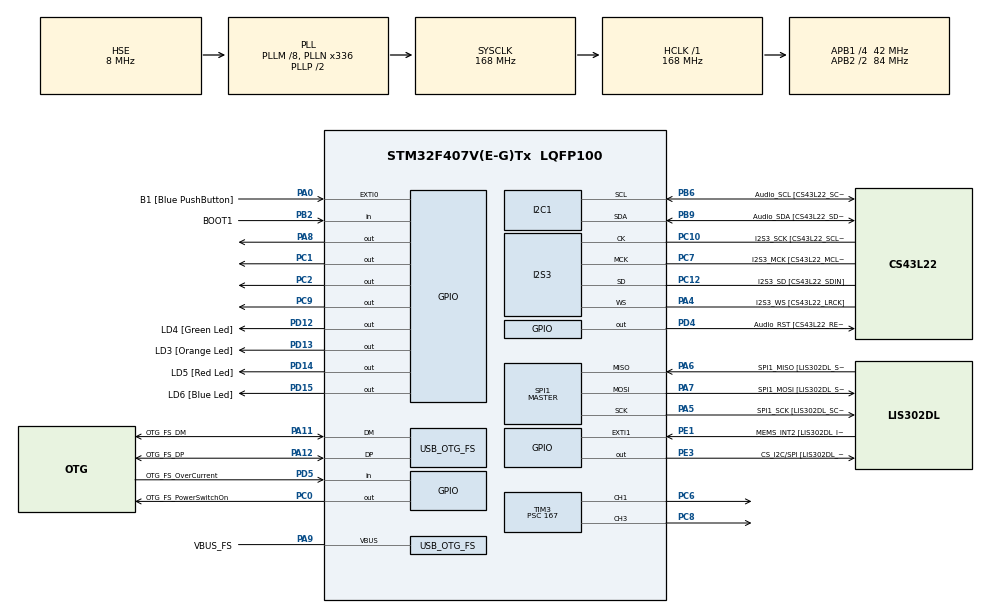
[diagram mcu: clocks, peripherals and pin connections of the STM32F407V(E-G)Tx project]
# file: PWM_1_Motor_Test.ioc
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I2S3.AudioFreq-Half_Duplex_Master=I2S_AUDIOFREQ_96K
I2S3.ErrorAudioFreq=-2.34 %
I2S3.ErrorAudioFreq-Half_Duplex_Master=0.8 %
I2S3.FullDuplexMode=I2S_FULLDUPLEXMODE_DISABLE
I2S3.Instance=SPI$Index
I2S3.RealAudioFreq=93.75 KHz
I2S3.RealAudioFreq-Half_Duplex_Master=96.774 KHz
I2S3.VirtualMode=I2S_MODE_MASTER
Mcu.Family=STM32F4
Mcu.Name=STM32F407V(E-G)Tx
Mcu.Package=LQFP100
NVIC.OTG_FS_IRQn=true\:0\:0\:false\:false\:true\:true\:true\:true
NVIC.PriorityGroup=NVIC_PRIORITYGROUP_0
PA0-WKUP.GPIO_Label=B1 [Blue PushButton]
PA0-WKUP.GPIO_ModeDefaultEXTI=GPIO_MODE_EVT_RISING
PA0-WKUP.GPIO_PuPd=GPIO_NOPULL
PA0-WKUP.Signal=GPXTI0
PA10.GPIO_Label=OTG_FS_ID
PA10.GPIO_Mode=GPIO_MODE_AF_PP
PA10.GPIO_PuPd=GPIO_NOPULL
PA10.GPIO_Speed=GPIO_SPEED_FREQ_LOW
PA10.Signal=USB_OTG_FS_ID
PA11.GPIO_Label=OTG_FS_DM
PA11.GPIO_Mode=GPIO_MODE_AF_PP
PA11.GPIO_PuPd=GPIO_NOPULL
PA11.GPIO_Speed=GPIO_SPEED_FREQ_LOW
PA11.Mode=Host_Only
PA11.Signal=USB_OTG_FS_DM
PA12.GPIO_Label=OTG_FS_DP
PA12.GPIO_Mode=GPIO_MODE_AF_PP
PA12.GPIO_PuPd=GPIO_NOPULL
PA12.GPIO_Speed=GPIO_SPEED_FREQ_LOW
PA12.Mode=Host_Only
PA12.Signal=USB_OTG_FS_DP
PA13.GPIO_Label=SWDIO
PA13.Mode=Serial_Wire
PA13.Signal=SYS_JTMS-SWDIO
PA14.GPIO_Label=SWCLK
PA14.Mode=Serial_Wire
PA14.Signal=SYS_JTCK-SWCLK
PA4.GPIO_Label=I2S3_WS [CS43L22_LRCK]
PA4.GPIO_Mode=GPIO_MODE_AF_PP
PA4.GPIO_PuPd=GPIO_NOPULL
PA4.GPIO_Speed=GPIO_SPEED_FREQ_LOW
PA4.Mode=Half_Duplex_Master
PA4.Signal=I2S3_WS
PA5.GPIO_Label=SPI1_SCK [LIS302DL_SCL/SPC]
PA5.GPIO_Mode=GPIO_MODE_AF_PP
PA5.GPIO_PuPd=GPIO_NOPULL
PA5.GPIO_Speed=GPIO_SPEED_FREQ_LOW
PA5.Mode=Full_Duplex_Master
PA5.Signal=SPI1_SCK
PA6.GPIO_Label=SPI1_MISO [LIS302DL_SDO]
PA6.GPIO_Mode=GPIO_MODE_AF_PP
PA6.GPIO_PuPd=GPIO_NOPULL
PA6.GPIO_Speed=GPIO_SPEED_FREQ_LOW
PA6.Mode=Full_Duplex_Master
PA6.Signal=SPI1_MISO
PA7.GPIO_Label=SPI1_MOSI [LIS302DL_SDA/SDI/SDO]
PA7.GPIO_Mode=GPIO_MODE_AF_PP
PA7.GPIO_PuPd=GPIO_NOPULL
PA7.GPIO_Speed=GPIO_SPEED_FREQ_LOW
PA7.Mode=Full_Duplex_Master
PA7.Signal=SPI1_MOSI
PA8.Signal=GPIO_Output
PA9.GPIO_Label=VBUS_FS
PA9.GPIO_Mode=GPIO_MODE_INPUT
PA9.GPIO_PuPd=GPIO_NOPULL
PA9.Mode=Activate_VBUS
PA9.Signal=USB_OTG_FS_VBUS
PB10.GPIO_Label=CLK_IN [MP45DT02_CLK]
PB10.GPIO_Mode=GPIO_MODE_AF_PP
PB10.GPIO_PuPd=GPIO_NOPULL
PB10.GPIO_Speed=GPIO_SPEED_FREQ_LOW
PB10.Signal=I2S2_CK
PB2.GPIO_Label=BOOT1
PB2.GPIO_Mode=GPIO_MODE_INPUT
PB2.GPIO_PuPd=GPIO_NOPULL
PB2.Signal=GPIO_Input
PB3.GPIO_Label=SWO
PB3.Signal=SYS_JTDO-SWO
PB6.GPIO_Label=Audio_SCL [CS43L22_SCL]
PB6.GPIO_Mode=GPIO_MODE_AF_OD
PB6.GPIO_Pu=GPIO_PULLUP
PB6.GPIO_PuPd=GPIO_NOPULL
PB6.GPIO_Speed=GPIO_SPEED_FREQ_LOW
PB6.Mode=I2C
PB6.Signal=I2C1_SCL
PB9.GPIO_Label=Audio_SDA [CS43L22_SDA]
PB9.GPIO_Mode=GPIO_MODE_AF_OD
PB9.GPIO_Pu=GPIO_PULLUP
PB9.GPIO_PuPd=GPIO_NOPULL
PB9.GPIO_Speed=GPIO_SPEED_FREQ_LOW
PB9.Mode=I2C
PB9.Signal=I2C1_SDA
PC0.GPIO_Label=OTG_FS_PowerSwitchOn
PC0.GPIO_PuPd=GPIO_NOPULL
PC0.GPIO_Speed=GPIO_SPEED_FREQ_LOW
PC0.PinState=GPIO_PIN_SET
PC0.Signal=GPIO_Output
PC1.Signal=GPIO_Output
PC10.GPIO_Label=I2S3_SCK [CS43L22_SCLK]
PC10.GPIO_Mode=GPIO_MODE_AF_PP
PC10.GPIO_PuPd=GPIO_NOPULL
PC10.GPIO_Speed=GPIO_SPEED_FREQ_LOW
PC10.Mode=Half_Duplex_Master
PC10.Signal=I2S3_CK
PC12.GPIO_Label=I2S3_SD [CS43L22_SDIN]
PC12.GPIO_Mode=GPIO_MODE_AF_PP
PC12.GPIO_PuPd=GPIO_NOPULL
PC12.GPIO_Speed=GPIO_SPEED_FREQ_LOW
PC12.Mode=Half_Duplex_Master
PC12.Signal=I2S3_SD
PC14-OSC32_IN.GPIO_Label=PC14-OSC32_IN
PC14-OSC32_IN.Mode=LSE-External-Oscillator
PC14-OSC32_IN.Signal=RCC_OSC32_IN
PC15-OSC32_OUT.GPIO_Label=PC15-OSC32_OUT
PC15-OSC32_OUT.Mode=LSE-External-Oscillator
PC15-OSC32_OUT.Signal=RCC_OSC32_OUT
PC2.Signal=GPIO_Output
PC3.GPIO_Label=PDM_OUT [MP45DT02_DOUT]
PC3.GPIO_Mode=GPIO_MODE_AF_PP
PC3.GPIO_PuPd=GPIO_NOPULL
PC3.GPIO_Speed=GPIO_SPEED_FREQ_LOW
PC3.Signal=I2S2_SD
PC6.Signal=S_TIM3_CH1
PC7.GPIO_Label=I2S3_MCK [CS43L22_MCLK]
PC7.GPIO_Mode=GPIO_MODE_AF_PP
PC7.GPIO_PuPd=GPIO_NOPULL
PC7.GPIO_Speed=GPIO_SPEED_FREQ_LOW
PC7.Mode=Master_Clock_Activated
PC7.Signal=I2S3_MCK
PC8.Signal=S_TIM3_CH3
PC9.Signal=GPIO_Output
PD12.GPIO_Label=LD4 [Green Led]
PD12.GPIO_PuPd=GPIO_NOPULL
PD12.GPIO_Speed=GPIO_SPEED_FREQ_LOW
PD12.Signal=GPIO_Output
PD13.GPIO_Label=LD3 [Orange Led]
PD13.GPIO_PuPd=GPIO_NOPULL
PD13.GPIO_Speed=GPIO_SPEED_FREQ_LOW
PD13.Signal=GPIO_Output
PD14.GPIO_Label=LD5 [Red Led]
PD14.GPIO_PuPd=GPIO_NOPULL
PD14.GPIO_Speed=GPIO_SPEED_FREQ_LOW
PD14.Signal=GPIO_Output
PD15.GPIO_Label=LD6 [Blue Led]
PD15.GPIO_PuPd=GPIO_NOPULL
PD15.GPIO_Speed=GPIO_SPEED_FREQ_LOW
PD15.Signal=GPIO_Output
PD4.GPIO_Label=Audio_RST [CS43L22_RESET]
PD4.GPIO_PuPd=GPIO_NOPULL
PD4.GPIO_Speed=GPIO_SPEED_FREQ_LOW
PD4.Signal=GPIO_Output
PD5.GPIO_Label=OTG_FS_OverCurrent
PD5.GPIO_Mode=GPIO_MODE_INPUT
PD5.GPIO_PuPd=GPIO_NOPULL
PD5.Signal=GPIO_Input
PE1.GPIO_Label=MEMS_INT2 [LIS302DL_INT2]
PE1.GPIO_ModeDefaultEXTI=GPIO_MODE_EVT_RISING
PE1.GPIO_PuPd=GPIO_NOPULL
PE1.Signal=GPXTI1
PE3.GPIO_Label=CS_I2C/SPI [LIS302DL_CS_I2C/SPI]
PE3.GPIO_PuPd=GPIO_NOPULL
PE3.GPIO_Speed=GPIO_SPEED_FREQ_LOW
PE3.Signal=GPIO_Output
PH0-OSC_IN.GPIO_Label=PH0-OSC_IN
PH0-OSC_IN.Mode=HSE-External-Oscillator
PH0-OSC_IN.Signal=RCC_OSC_IN
PH1-OSC_OUT.GPIO_Label=PH1-OSC_OUT
PH1-OSC_OUT.Mode=HSE-External-Oscillator
PH1-OSC_OUT.Signal=RCC_OSC_OUT
ProjectManager.HeapSize=0x200
ProjectManager.StackSize=0x400
ProjectManager.TargetToolchain=STM32CubeIDE
RCC.48MHZClocksFreq_Value=48000000
RCC.AHBFreq_Value=168000000
RCC.APB1CLKDivider=RCC_HCLK_DIV4
RCC.APB1Freq_Value=42000000
RCC.APB1TimFreq_Value=84000000
RCC.APB2CLKDivider=RCC_HCLK_DIV2
RCC.APB2Freq_Value=84000000
RCC.APB2TimFreq_Value=168000000
RCC.CortexFreq_Value=168000000
RCC.HCLKFreq_Value=168000000
RCC.HSE_VALUE=8000000
RCC.HSI_VALUE=16000000
RCC.PLLM=8
RCC.PLLN=336
RCC.PLLQ=7
RCC.SYSCLKFreq_VALUE=168000000
RCC.SYSCLKSource=RCC_SYSCLKSOURCE_PLLCLK
RCC.VCOOutputFreq_Value=336000000
SH.S_TIM3_CH1.0=TIM3_CH1,PWM Generation1 CH1
SH.S_TIM3_CH3.0=TIM3_CH3,PWM Generation3 CH3
SPI1.BaudRatePrescaler-Full_Duplex_Master=SPI_BAUDRATEPRESCALER_2
SPI1.CalculateBaudRate-Full_Duplex_Master=42.0 MBits/s
SPI1.Direction=SPI_DIRECTION_2LINES
SPI1.Mode=SPI_MODE_MASTER
SPI1.Mode-Full_Duplex_Master=SPI_MODE_MASTER
SPI1.VirtualType=VM_MASTER
TIM3.Channel-PWM\ Generation1\ CH1=TIM_CHANNEL_1
TIM3.Channel-PWM\ Generation3\ CH3=TIM_CHANNEL_3
TIM3.Period=999
TIM3.Prescaler=167
USB_HOST.BSP.number=1
USB_HOST.USBH_HandleTypeDef-CDC_FS=hUsbHostFS
USB_HOST.VirtualModeFS=Cdc
USB_HOST0.BSP.STBoard=false
USB_HOST0.BSP.api=Unknown
USB_HOST0.BSP.instance=PC0
USB_HOST0.BSP.ip=GPIO
USB_HOST0.BSP.mode=Output
USB_HOST0.BSP.name=Drive_VBUS_FS
USB_HOST0.BSP.solution=PC0
USB_OTG_FS.VirtualMode=Host_Only
USB_OTG_FS.phy_itface=HCD_PHY_EMBEDDED
VP_TIM3_VS_ClockSourceINT.Mode=Internal
VP_USB_HOST_VS_USB_HOST_CDC_FS.Mode=CDC_FS
board=STM32F407G-DISC1

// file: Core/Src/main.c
/* USER CODE BEGIN Header */
/**
  ******************************************************************************
  * @file           : main.c
  * @brief          : Main program body
  ******************************************************************************
  * @attention
  *
  * Copyright (c) 2025 STMicroelectronics.
  * All rights reserved.
  *
  * This software is licensed under terms that can be found in the LICENSE file
  * in the root directory of this software component.
  * If no LICENSE file comes with this software, it is provided AS-IS.
  *
  ******************************************************************************
  */
/* USER CODE END Header */
#include "main.h"
#include "usb_host.h"

I2C_HandleTypeDef hi2c1;

I2S_HandleTypeDef hi2s3;

SPI_HandleTypeDef hspi1;

TIM_HandleTypeDef htim3;

void SystemClock_Config(void);
static void MX_GPIO_Init(void);
static void MX_I2C1_Init(void);
static void MX_I2S3_Init(void);
static void MX_SPI1_Init(void);
static void MX_TIM3_Init(void);
void MX_USB_HOST_Process(void);

int main(void)
{

  /* MCU Configuration--------------------------------------------------------*/

  /* Reset of all peripherals, Initializes the Flash interface and the Systick. */
  HAL_Init();

  /* Configure the system clock */
  SystemClock_Config();

  /* Initialize all configured peripherals */
  MX_GPIO_Init();
  MX_I2C1_Init();
  MX_I2S3_Init();
  MX_SPI1_Init();
  MX_USB_HOST_Init();
  MX_TIM3_Init();

  /* Infinite loop */
  while (1)
  {
    MX_USB_HOST_Process();

    /* USER CODE BEGIN 3 */
    HAL_GPIO_WritePin(GPIOC, GPIO_PIN_1, GPIO_PIN_SET);
    HAL_GPIO_WritePin(GPIOC, GPIO_PIN_2, GPIO_PIN_RESET);
    HAL_GPIO_WritePin(GPIOA, GPIO_PIN_8, GPIO_PIN_SET);
    HAL_GPIO_WritePin(GPIOC, GPIO_PIN_9, GPIO_PIN_RESET);

    __HAL_TIM_SET_COMPARE(&htim3,TIM_CHANNEL_1, 200);
    __HAL_TIM_SET_COMPARE(&htim3,TIM_CHANNEL_3, 200);
    HAL_TIM_PWM_Start(&htim3,TIM_CHANNEL_1);
    HAL_TIM_PWM_Start(&htim3,TIM_CHANNEL_3);

    HAL_Delay(1000);

    HAL_GPIO_WritePin(GPIOC, GPIO_PIN_1, GPIO_PIN_RESET);
    HAL_GPIO_WritePin(GPIOC, GPIO_PIN_2, GPIO_PIN_SET);
    HAL_GPIO_WritePin(GPIOA, GPIO_PIN_8, GPIO_PIN_RESET);
    HAL_GPIO_WritePin(GPIOC, GPIO_PIN_9, GPIO_PIN_SET);

    __HAL_TIM_SET_COMPARE(&htim3,TIM_CHANNEL_1, 400);
    __HAL_TIM_SET_COMPARE(&htim3,TIM_CHANNEL_3, 400);
    HAL_TIM_PWM_Start(&htim3,TIM_CHANNEL_1);
    HAL_TIM_PWM_Start(&htim3,TIM_CHANNEL_3);

    HAL_Delay(1000);
  }
  /* USER CODE END 3 */
}

void SystemClock_Config(void)
{
  RCC_OscInitTypeDef RCC_OscInitStruct = {0};
  RCC_ClkInitTypeDef RCC_ClkInitStruct = {0};

  /** Configure the main internal regulator output voltage
  */
  __HAL_RCC_PWR_CLK_ENABLE();
  __HAL_PWR_VOLTAGESCALING_CONFIG(PWR_REGULATOR_VOLTAGE_SCALE1);

  /** Initializes the RCC Oscillators according to the specified parameters
  * in the RCC_OscInitTypeDef structure.
  */
  RCC_OscInitStruct.OscillatorType = RCC_OSCILLATORTYPE_HSE;
  RCC_OscInitStruct.HSEState = RCC_HSE_ON;
  RCC_OscInitStruct.PLL.PLLState = RCC_PLL_ON;
  RCC_OscInitStruct.PLL.PLLSource = RCC_PLLSOURCE_HSE;
  RCC_OscInitStruct.PLL.PLLM = 8;
  RCC_OscInitStruct.PLL.PLLN = 336;
  RCC_OscInitStruct.PLL.PLLP = RCC_PLLP_DIV2;
  RCC_OscInitStruct.PLL.PLLQ = 7;
  if (HAL_RCC_OscConfig(&RCC_OscInitStruct) != HAL_OK)
  {
    Error_Handler();
  }

  /** Initializes the CPU, AHB and APB buses clocks
  */
  RCC_ClkInitStruct.ClockType = RCC_CLOCKTYPE_HCLK|RCC_CLOCKTYPE_SYSCLK
                              |RCC_CLOCKTYPE_PCLK1|RCC_CLOCKTYPE_PCLK2;
  RCC_ClkInitStruct.SYSCLKSource = RCC_SYSCLKSOURCE_PLLCLK;
  RCC_ClkInitStruct.AHBCLKDivider = RCC_SYSCLK_DIV1;
  RCC_ClkInitStruct.APB1CLKDivider = RCC_HCLK_DIV4;
  RCC_ClkInitStruct.APB2CLKDivider = RCC_HCLK_DIV2;

  if (HAL_RCC_ClockConfig(&RCC_ClkInitStruct, FLASH_LATENCY_5) != HAL_OK)
  {
    Error_Handler();
  }
}

static void MX_I2C1_Init(void)
{

  hi2c1.Instance = I2C1;
  hi2c1.Init.ClockSpeed = 100000;
  hi2c1.Init.DutyCycle = I2C_DUTYCYCLE_2;
  hi2c1.Init.OwnAddress1 = 0;
  hi2c1.Init.AddressingMode = I2C_ADDRESSINGMODE_7BIT;
  hi2c1.Init.DualAddressMode = I2C_DUALADDRESS_DISABLE;
  hi2c1.Init.OwnAddress2 = 0;
  hi2c1.Init.GeneralCallMode = I2C_GENERALCALL_DISABLE;
  hi2c1.Init.NoStretchMode = I2C_NOSTRETCH_DISABLE;
  if (HAL_I2C_Init(&hi2c1) != HAL_OK)
  {
    Error_Handler();
  }

}

static void MX_I2S3_Init(void)
{

  hi2s3.Instance = SPI3;
  hi2s3.Init.Mode = I2S_MODE_MASTER_TX;
  hi2s3.Init.Standard = I2S_STANDARD_PHILIPS;
  hi2s3.Init.DataFormat = I2S_DATAFORMAT_16B;
  hi2s3.Init.MCLKOutput = I2S_MCLKOUTPUT_ENABLE;
  hi2s3.Init.AudioFreq = I2S_AUDIOFREQ_96K;
  hi2s3.Init.CPOL = I2S_CPOL_LOW;
  hi2s3.Init.ClockSource = I2S_CLOCK_PLL;
  hi2s3.Init.FullDuplexMode = I2S_FULLDUPLEXMODE_DISABLE;
  if (HAL_I2S_Init(&hi2s3) != HAL_OK)
  {
    Error_Handler();
  }

}

static void MX_SPI1_Init(void)
{

  /* SPI1 parameter configuration*/
  hspi1.Instance = SPI1;
  hspi1.Init.Mode = SPI_MODE_MASTER;
  hspi1.Init.Direction = SPI_DIRECTION_2LINES;
  hspi1.Init.DataSize = SPI_DATASIZE_8BIT;
  hspi1.Init.CLKPolarity = SPI_POLARITY_LOW;
  hspi1.Init.CLKPhase = SPI_PHASE_1EDGE;
  hspi1.Init.NSS = SPI_NSS_SOFT;
  hspi1.Init.BaudRatePrescaler = SPI_BAUDRATEPRESCALER_2;
  hspi1.Init.FirstBit = SPI_FIRSTBIT_MSB;
  hspi1.Init.TIMode = SPI_TIMODE_DISABLE;
  hspi1.Init.CRCCalculation = SPI_CRCCALCULATION_DISABLE;
  hspi1.Init.CRCPolynomial = 10;
  if (HAL_SPI_Init(&hspi1) != HAL_OK)
  {
    Error_Handler();
  }

}

static void MX_TIM3_Init(void)
{

  TIM_ClockConfigTypeDef sClockSourceConfig = {0};
  TIM_MasterConfigTypeDef sMasterConfig = {0};
  TIM_OC_InitTypeDef sConfigOC = {0};

  htim3.Instance = TIM3;
  htim3.Init.Prescaler = 167;
  htim3.Init.CounterMode = TIM_COUNTERMODE_UP;
  htim3.Init.Period = 999;
  htim3.Init.ClockDivision = TIM_CLOCKDIVISION_DIV1;
  htim3.Init.AutoReloadPreload = TIM_AUTORELOAD_PRELOAD_DISABLE;
  if (HAL_TIM_Base_Init(&htim3) != HAL_OK)
  {
    Error_Handler();
  }
  sClockSourceConfig.ClockSource = TIM_CLOCKSOURCE_INTERNAL;
  if (HAL_TIM_ConfigClockSource(&htim3, &sClockSourceConfig) != HAL_OK)
  {
    Error_Handler();
  }
  if (HAL_TIM_PWM_Init(&htim3) != HAL_OK)
  {
    Error_Handler();
  }
  sMasterConfig.MasterOutputTrigger = TIM_TRGO_RESET;
  sMasterConfig.MasterSlaveMode = TIM_MASTERSLAVEMODE_DISABLE;
  if (HAL_TIMEx_MasterConfigSynchronization(&htim3, &sMasterConfig) != HAL_OK)
  {
    Error_Handler();
  }
  sConfigOC.OCMode = TIM_OCMODE_PWM1;
  sConfigOC.Pulse = 0;
  sConfigOC.OCPolarity = TIM_OCPOLARITY_HIGH;
  sConfigOC.OCFastMode = TIM_OCFAST_DISABLE;
  if (HAL_TIM_PWM_ConfigChannel(&htim3, &sConfigOC, TIM_CHANNEL_1) != HAL_OK)
  {
    Error_Handler();
  }
  if (HAL_TIM_PWM_ConfigChannel(&htim3, &sConfigOC, TIM_CHANNEL_3) != HAL_OK)
  {
    Error_Handler();
  }
  HAL_TIM_MspPostInit(&htim3);

}

static void MX_GPIO_Init(void)
{
  GPIO_InitTypeDef GPIO_InitStruct = {0};

  /* GPIO Ports Clock Enable */
  __HAL_RCC_GPIOE_CLK_ENABLE();
  __HAL_RCC_GPIOC_CLK_ENABLE();
  __HAL_RCC_GPIOH_CLK_ENABLE();
  __HAL_RCC_GPIOA_CLK_ENABLE();
  __HAL_RCC_GPIOB_CLK_ENABLE();
  __HAL_RCC_GPIOD_CLK_ENABLE();

  /*Configure GPIO pin Output Level */
  HAL_GPIO_WritePin(CS_I2C_SPI_GPIO_Port, CS_I2C_SPI_Pin, GPIO_PIN_RESET);

  /*Configure GPIO pin Output Level */
  HAL_GPIO_WritePin(OTG_FS_PowerSwitchOn_GPIO_Port, OTG_FS_PowerSwitchOn_Pin, GPIO_PIN_SET);

  /*Configure GPIO pin Output Level */
  HAL_GPIO_WritePin(GPIOC, GPIO_PIN_1|GPIO_PIN_2|GPIO_PIN_9, GPIO_PIN_RESET);

  /*Configure GPIO pin Output Level */
  HAL_GPIO_WritePin(GPIOD, LD4_Pin|LD3_Pin|LD5_Pin|LD6_Pin
                          |Audio_RST_Pin, GPIO_PIN_RESET);

  /*Configure GPIO pin Output Level */
  HAL_GPIO_WritePin(GPIOA, GPIO_PIN_8, GPIO_PIN_RESET);

  /*Configure GPIO pin : CS_I2C_SPI_Pin */
  GPIO_InitStruct.Pin = CS_I2C_SPI_Pin;
  GPIO_InitStruct.Mode = GPIO_MODE_OUTPUT_PP;
  GPIO_InitStruct.Pull = GPIO_NOPULL;
  GPIO_InitStruct.Speed = GPIO_SPEED_FREQ_LOW;
  HAL_GPIO_Init(CS_I2C_SPI_GPIO_Port, &GPIO_InitStruct);

  /*Configure GPIO pins : OTG_FS_PowerSwitchOn_Pin PC1 PC2 PC9 */
  GPIO_InitStruct.Pin = OTG_FS_PowerSwitchOn_Pin|GPIO_PIN_1|GPIO_PIN_2|GPIO_PIN_9;
  GPIO_InitStruct.Mode = GPIO_MODE_OUTPUT_PP;
  GPIO_InitStruct.Pull = GPIO_NOPULL;
  GPIO_InitStruct.Speed = GPIO_SPEED_FREQ_LOW;
  HAL_GPIO_Init(GPIOC, &GPIO_InitStruct);

  /*Configure GPIO pin : PDM_OUT_Pin */
  GPIO_InitStruct.Pin = PDM_OUT_Pin;
  GPIO_InitStruct.Mode = GPIO_MODE_AF_PP;
  GPIO_InitStruct.Pull = GPIO_NOPULL;
  GPIO_InitStruct.Speed = GPIO_SPEED_FREQ_LOW;
  GPIO_InitStruct.Alternate = GPIO_AF5_SPI2;
  HAL_GPIO_Init(PDM_OUT_GPIO_Port, &GPIO_InitStruct);

  /*Configure GPIO pin : B1_Pin */
  GPIO_InitStruct.Pin = B1_Pin;
  GPIO_InitStruct.Mode = GPIO_MODE_EVT_RISING;
  GPIO_InitStruct.Pull = GPIO_NOPULL;
  HAL_GPIO_Init(B1_GPIO_Port, &GPIO_InitStruct);

  /*Configure GPIO pin : BOOT1_Pin */
  GPIO_InitStruct.Pin = BOOT1_Pin;
  GPIO_InitStruct.Mode = GPIO_MODE_INPUT;
  GPIO_InitStruct.Pull = GPIO_NOPULL;
  HAL_GPIO_Init(BOOT1_GPIO_Port, &GPIO_InitStruct);

  /*Configure GPIO pin : CLK_IN_Pin */
  GPIO_InitStruct.Pin = CLK_IN_Pin;
  GPIO_InitStruct.Mode = GPIO_MODE_AF_PP;
  GPIO_InitStruct.Pull = GPIO_NOPULL;
  GPIO_InitStruct.Speed = GPIO_SPEED_FREQ_LOW;
  GPIO_InitStruct.Alternate = GPIO_AF5_SPI2;
  HAL_GPIO_Init(CLK_IN_GPIO_Port, &GPIO_InitStruct);

  /*Configure GPIO pins : LD4_Pin LD3_Pin LD5_Pin LD6_Pin
                           Audio_RST_Pin */
  GPIO_InitStruct.Pin = LD4_Pin|LD3_Pin|LD5_Pin|LD6_Pin
                          |Audio_RST_Pin;
  GPIO_InitStruct.Mode = GPIO_MODE_OUTPUT_PP;
  GPIO_InitStruct.Pull = GPIO_NOPULL;
  GPIO_InitStruct.Speed = GPIO_SPEED_FREQ_LOW;
  HAL_GPIO_Init(GPIOD, &GPIO_InitStruct);

  /*Configure GPIO pin : PA8 */
  GPIO_InitStruct.Pin = GPIO_PIN_8;
  GPIO_InitStruct.Mode = GPIO_MODE_OUTPUT_PP;
  GPIO_InitStruct.Pull = GPIO_NOPULL;
  GPIO_InitStruct.Speed = GPIO_SPEED_FREQ_LOW;
  HAL_GPIO_Init(GPIOA, &GPIO_InitStruct);

  /*Configure GPIO pin : OTG_FS_OverCurrent_Pin */
  GPIO_InitStruct.Pin = OTG_FS_OverCurrent_Pin;
  GPIO_InitStruct.Mode = GPIO_MODE_INPUT;
  GPIO_InitStruct.Pull = GPIO_NOPULL;
  HAL_GPIO_Init(OTG_FS_OverCurrent_GPIO_Port, &GPIO_InitStruct);

  /*Configure GPIO pin : MEMS_INT2_Pin */
  GPIO_InitStruct.Pin = MEMS_INT2_Pin;
  GPIO_InitStruct.Mode = GPIO_MODE_EVT_RISING;
  GPIO_InitStruct.Pull = GPIO_NOPULL;
  HAL_GPIO_Init(MEMS_INT2_GPIO_Port, &GPIO_InitStruct);

}

void Error_Handler(void)
{
  __disable_irq();
  while (1)
  {
  }
}
